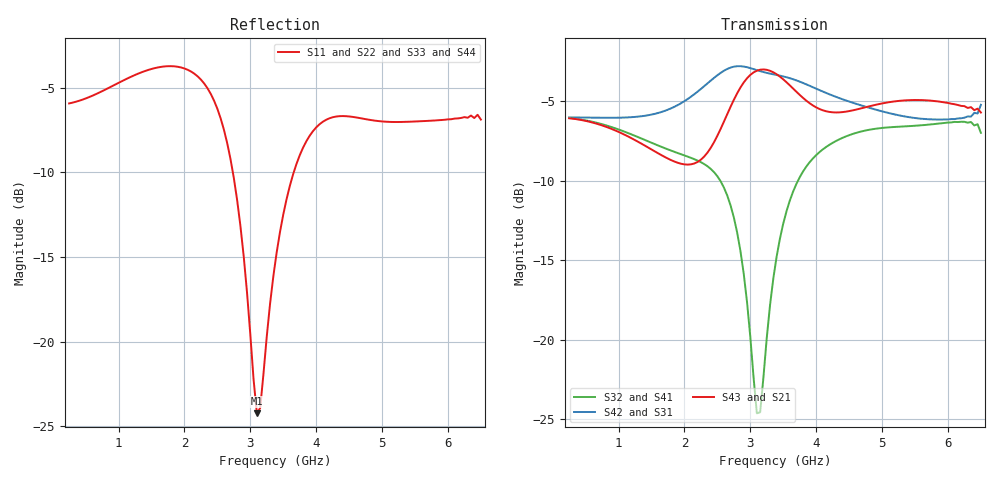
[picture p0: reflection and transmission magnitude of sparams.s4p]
! NobuRF pozar-7.5-branch-line-r2: ports 1 "p1", 2 "p2", 3 "p3", 4 "p4"; 60000 + 60000 + 60000 + 60000 steps
# GHz S RI R 50
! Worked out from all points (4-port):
!   126 points, 250 MHz to 6.5 GHz, reference 50 ohm
!   strongest paths, dB at 250 MHz, 1.8 GHz, 3.4 GHz, 4.95 GHz, 6.5 GHz:
!     S43: -6.1, -8.7, -3.3, -5.2, -5.7
!     S21: -6.1, -8.7, -3.3, -5.2, -5.7
!     S42: -6.0, -5.4, -3.4, -5.6, -5.2
!     S31: -6.0, -5.4, -3.4, -5.6, -5.2
!     S32: -6.1, -8.1, -14.8, -6.7, -7.0
!     S41: -6.1, -8.1, -14.8, -6.7, -7.0
!   lowest |S11| = -24.2 dB at 3.1 GHz (marker M1), VSWR 1.13, Z = 55.9 + j2.67 ohm
!   |S11| at or under -10 dB: 2.735 GHz to 3.659 GHz (923.3 MHz wide, 28.9 % of centre)
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0.25  -0.4941 0.1086  0.4629 -0.1806  0.4542 -0.2086  0.4605 -0.1877
      0.4629 -0.1806  -0.4941 0.1086  0.4605 -0.1877  0.4542 -0.2086
      0.4542 -0.2086  0.4605 -0.1877  -0.4941 0.1086  0.4629 -0.1806
      0.4605 -0.1877  0.4542 -0.2086  0.4629 -0.1806  -0.4941 0.1086
1.05  -0.3301 0.4871  0.0197 -0.4448  -0.1086 -0.4872  -0.0194 -0.4538
      0.0197 -0.4448  -0.3301 0.4871  -0.0194 -0.4538  -0.1086 -0.4872
      -0.1086 -0.4872  -0.0194 -0.4538  -0.3301 0.4871  0.0197 -0.4448
      -0.0194 -0.4538  -0.1086 -0.4872  0.0197 -0.4448  -0.3301 0.4871
2  0.3308 0.5499  -0.3017 -0.1887  -0.5508 0.1125  -0.3778 -0.037
   -0.3017 -0.1887  0.3308 0.5499  -0.3778 -0.037  -0.5508 0.1125
   -0.5508 0.1125  -0.3778 -0.037  0.3308 0.5499  -0.3017 -0.1887
   -0.3778 -0.037  -0.5508 0.1125  -0.3017 -0.1887  0.3308 0.5499
3.1  0.0567 0.0237  -0.4602 0.5288  0.5341 0.4581  0.0517 -0.0278
     -0.4602 0.5288  0.0567 0.0237  0.0517 -0.0278  0.5341 0.4581
     0.5341 0.4581  0.0517 -0.0278  0.0567 0.0237  -0.4602 0.5288
     0.0517 -0.0278  0.5341 0.4581  -0.4602 0.5288  0.0567 0.0237
4.2  0.3855 0.2455  0.4562 0.2497  0.0863 -0.5847  0.0167 0.4095
     0.4562 0.2497  0.3855 0.2455  0.0167 0.4095  0.0863 -0.5847
     0.0863 -0.5847  0.0167 0.4095  0.3855 0.2455  0.4562 0.2497
     0.0167 0.4095  0.0863 -0.5847  0.4562 0.2497  0.3855 0.2455
5.2  0.3919 -0.2127  0.3694 -0.423  -0.5098 0.0242  0.4597 -0.0799
     0.3694 -0.423  0.3919 -0.2127  0.4597 -0.0799  -0.5098 0.0242
     -0.5098 0.0242  0.4597 -0.0799  0.3919 -0.2127  0.3694 -0.423
     0.4597 -0.0799  -0.5098 0.0242  0.3694 -0.423  0.3919 -0.2127
6.5  -0.4265 -0.1534  -0.5104 -0.0871  0.3029 0.4562  -0.3181 -0.3142
     -0.5104 -0.0871  -0.4265 -0.1534  -0.3181 -0.3142  0.3029 0.4562
     0.3029 0.4562  -0.3181 -0.3142  -0.4265 -0.1534  -0.5104 -0.0871
     -0.3181 -0.3142  0.3029 0.4562  -0.5104 -0.0871  -0.4265 -0.1534
